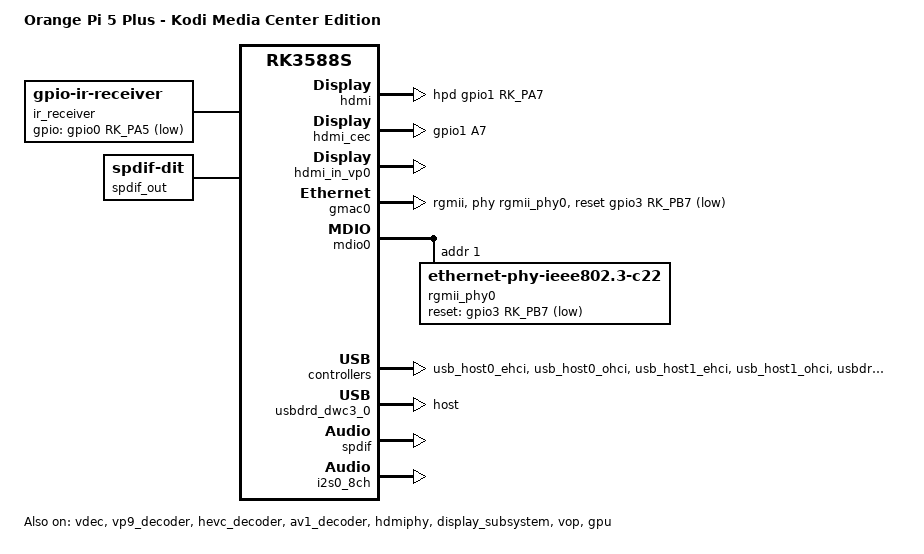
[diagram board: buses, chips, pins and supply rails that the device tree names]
/dts-v1/;
#include <dt-bindings/gpio/gpio.h>
#include <dt-bindings/pinctrl/rockchip.h>
#include "rk3588s.dtsi"
#include "rk3588s-orangepi-5.dtsi"

/ {
    model = "Orange Pi 5 Plus - Kodi Media Center Edition";
    compatible = "xunlong,orangepi-5-plus", "rockchip,rk3588s";
    
    metadata {
        build-type = "kodi-media-center";
        kernel-version = "6.6";
        kodi-version = "21.0";
        gpu-driver = "g13p0";
        av1-decode = "enabled";
        hdr-support = "enabled";
    };

    chosen {
        bootargs = "console=ttyS2,1500000n8 root=/dev/mmcblk0p2 rootwait rw quiet splash loglevel=1";
    };

    /* Media center specific configurations */
    media-center {
        compatible = "kodi,config";
        default-resolution = "3840x2160";
        default-refresh = <60>;
        hdr10-enabled;
        dolby-vision-enabled;
        auto-framerate-switching;
        cec-enabled;
    };

    /* IR receiver for remote control */
    ir_receiver {
        compatible = "gpio-ir-receiver";
        gpios = <&gpio0 RK_PA5 GPIO_ACTIVE_LOW>;
        pinctrl-names = "default";
        pinctrl-0 = <&ir_receiver_pin>;
        linux,rc-map-name = "rc-kodi";
    };

    /* Audio configuration for media playback */
    sound {
        compatible = "simple-audio-card";
        simple-audio-card,name = "Kodi-HDMI-Audio";
        simple-audio-card,format = "i2s";
        simple-audio-card,mclk-fs = <128>;
        simple-audio-card,bitclock-master = <&sound_cpu>;
        simple-audio-card,frame-master = <&sound_cpu>;
        
        simple-audio-card,cpu {
            sound-dai = <&i2s0_8ch>;
        };
        
        simple-audio-card,codec {
            sound-dai = <&hdmi>;
        };
    };

    /* SPDIF output for digital audio */
    spdif_sound {
        compatible = "simple-audio-card";
        simple-audio-card,name = "SPDIF";
        
        simple-audio-card,cpu {
            sound-dai = <&spdif>;
        };
        
        simple-audio-card,codec {
            sound-dai = <&spdif_out>;
        };
    };

    spdif_out: spdif-out {
        compatible = "linux,spdif-dit";
        #sound-dai-cells = <0>;
    };
};

/* Video decoding hardware */
&vdec {
    status = "okay";
};

&vdec_mmu {
    status = "okay";
};

/* VP9 decoder */
&vp9_decoder {
    status = "okay";
};

/* HEVC decoder */
&hevc_decoder {
    status = "okay";
};

/* AV1 decoder for modern codecs */
&av1_decoder {
    status = "okay";
};

/* HDMI with CEC support */
&hdmi {
    status = "okay";
    pinctrl-names = "default";
    pinctrl-0 = <&hdmi_pins>;
    avdd-0v9-supply = <&vdd_0v9_hdmi>;
    avdd-1v8-supply = <&vdd_1v8_hdmi>;
    ddc-i2c-bus = <&i2c3>;
    hpd-gpios = <&gpio1 RK_PA7 GPIO_ACTIVE_HIGH>;
};

&hdmi_cec {
    status = "okay";
    pinctrl-names = "default";
    pinctrl-0 = <&hdmi_cec_pin>;
};

&hdmi_in_vp0 {
    status = "okay";
};

&hdmiphy {
    status = "okay";
};

/* Display subsystem for 4K output */
&display_subsystem {
    status = "okay";
};

&vop {
    status = "okay";
    assigned-clocks = <&cru DCLK_VOP0>, <&cru DCLK_VOP1>;
    assigned-clock-parents = <&pmucru PLL_HPLL>, <&cru PLL_VPLL>;
};

&vop_mmu {
    status = "okay";
};

/* GPU for UI rendering */
&gpu {
    mali-supply = <&vdd_gpu_s0>;
    status = "okay";
};

/* Ethernet for streaming */
&gmac0 {
    phy-mode = "rgmii";
    clock_in_out = "output";
    snps,reset-gpio = <&gpio3 RK_PB7 GPIO_ACTIVE_LOW>;
    snps,reset-active-low;
    snps,reset-delays-us = <0 10000 100000>;
    assigned-clocks = <&cru SCLK_GMAC0_RX_TX>, <&cru SCLK_GMAC0>;
    assigned-clock-parents = <&cru SCLK_GMAC0_RGMII_SPEED>;
    pinctrl-names = "default";
    pinctrl-0 = <&gmac0_miim
                 &gmac0_tx_bus2
                 &gmac0_rx_bus2
                 &gmac0_rgmii_clk
                 &gmac0_rgmii_bus>;
    tx_delay = <0x3c>;
    rx_delay = <0x2f>;
    phy-handle = <&rgmii_phy0>;
    status = "okay";
};

&mdio0 {
    rgmii_phy0: phy@1 {
        compatible = "ethernet-phy-ieee802.3-c22";
        reg = <0x1>;
        reset-assert-us = <20000>;
        reset-deassert-us = <100000>;
        reset-gpios = <&gpio3 RK_PB7 GPIO_ACTIVE_LOW>;
    };
};

/* USB for external storage */
&usb_host0_ehci {
    status = "okay";
};

&usb_host0_ohci {
    status = "okay";
};

&usb_host1_ehci {
    status = "okay";
};

&usb_host1_ohci {
    status = "okay";
};

/* USB 3.0 for high-speed storage */
&usbdrd_dwc3_0 {
    dr_mode = "host";
    status = "okay";
};

&usbdrd3_0 {
    status = "okay";
};

/* SPDIF for digital audio output */
&spdif {
    status = "okay";
    pinctrl-names = "default";
    pinctrl-0 = <&spdif_tx>;
};

/* I2S for HDMI audio */
&i2s0_8ch {
    status = "okay";
    rockchip,trcm-sync-tx-only;
    pinctrl-names = "default";
    pinctrl-0 = <&i2s0_lrck
                 &i2s0_mclk
                 &i2s0_sclk
                 &i2s0_sdi0
                 &i2s0_sdo0>;
};

/* Power management for low idle consumption */
&cpu_l0 {
    cpu-idle-states = <&CPU_SLEEP &CLUSTER_SLEEP>;
};

&cpu_b0 {
    cpu-idle-states = <&CPU_SLEEP &CLUSTER_SLEEP>;
};

&cpu_b2 {
    cpu-idle-states = <&CPU_SLEEP &CLUSTER_SLEEP>;
};

/* Pinctrl additions */
&pinctrl {
    ir-receiver {
        ir_receiver_pin: ir-receiver-pin {
            rockchip,pins = <0 RK_PA5 RK_FUNC_GPIO &pcfg_pull_up>;
        };
    };

    hdmi {
        hdmi_cec_pin: hdmi-cec-pin {
            rockchip,pins = <1 RK_PA7 RK_FUNC_1 &pcfg_pull_none>;
        };
    };
};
